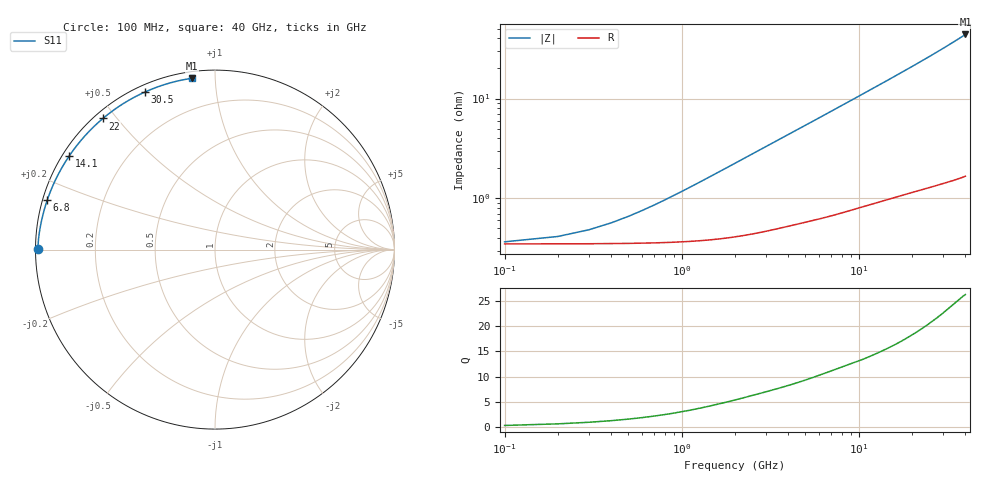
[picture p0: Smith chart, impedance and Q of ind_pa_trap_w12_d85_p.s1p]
#  Hz  S  RI  R  50
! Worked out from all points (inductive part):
!   400 points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, 100 MHz to 40 GHz, reference 50 ohm
!   read as one part to ground: L = 176 pH near 1 GHz
!   highest Q = 26.3 at 40 GHz (marker M1), where L = 174 pH
!   S11 on the Smith chart (normalised r, x): 100 MHz: 0.01, +0.00; 6.8 GHz: 0.01, +0.14; 14.1 GHz: 0.02, +0.29; 22 GHz: 0.02, +0.46; 30.5 GHz: 0.03, +0.65; 40 GHz: 0.03, +0.88
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1e8  -0.9861 0.0044
1.1e9  -0.9841 0.0482
2.3e9  -0.9781 0.0993
3.7e9  -0.9674 0.1564
5.1e9  -0.9542 0.2114
6.8e9  -0.9346 0.2761
8.4e9  -0.9125 0.3348
1.01e10  -0.8857 0.3945
1.21e10  -0.8502 0.4612
1.41e10  -0.8107 0.524
1.51e10  -0.7896 0.5539
1.64e10  -0.761 0.5911
1.76e10  -0.7334 0.6239
1.89e10  -0.7024 0.6577
2.01e10  -0.6728 0.6873
2.2e10  -0.6243 0.7308
2.35e10  -0.5848 0.7624
2.51e10  -0.5417 0.7933
2.63e10  -0.5089 0.8147
2.76e10  -0.4729 0.8361
2.88e10  -0.4394 0.8542
3.01e10  -0.4029 0.8722
3.05e10  -0.3916 0.8774
3.28e10  -0.3267 0.904
3.51e10  -0.262 0.9253
3.75e10  -0.195 0.9424
3.87e10  -0.1618 0.949
4e10  -0.1262 0.9547
